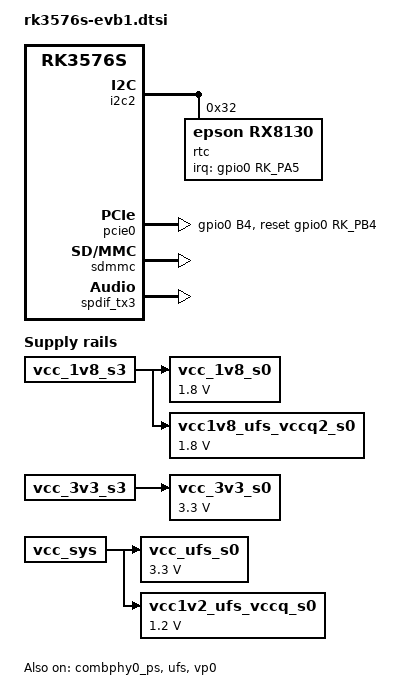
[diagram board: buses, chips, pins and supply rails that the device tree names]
// SPDX-License-Identifier: (GPL-2.0+ OR MIT)
/*
 * Copyright (c) 2024 Rockchip Electronics Co., Ltd.
 *
 */

#include <dt-bindings/usb/pd.h>
#include "rk3576s-evb.dtsi"
#include "rk3576-rk806.dtsi"
#include "usb/rk3576-usb.dtsi"
#include "usb/rk3576-usb_dp.dtsi"
#include "display/rk3576s-display.dtsi"
#include "M.2_external/rk3576_M.2_wifibt.dtsi"
#include "camera/rk3576-cam.dtsi"
#include "rk3576-audio.dtsi"

/ {
	vcc_1v8_s0: vcc-1v8-s0 {
		compatible = "regulator-fixed";
		regulator-name = "vcc_1v8_s0";
		regulator-boot-on;
		regulator-always-on;
		regulator-min-microvolt = <1800000>;
		regulator-max-microvolt = <1800000>;
		vin-supply = <&vcc_1v8_s3>;
	};

	vcc_3v3_s0: vcc-3v3-s0 {
		compatible = "regulator-fixed";
		regulator-name = "vcc_3v3_s0";
		regulator-boot-on;
		regulator-always-on;
		regulator-min-microvolt = <3300000>;
		regulator-max-microvolt = <3300000>;
		vin-supply = <&vcc_3v3_s3>;
	};

	vcc_ufs_s0: vcc-ufs-s0 {
		compatible = "regulator-fixed";
		regulator-name = "vcc_ufs_s0";
		regulator-boot-on;
		regulator-always-on;
		regulator-min-microvolt = <3300000>;
		regulator-max-microvolt = <3300000>;
		vin-supply = <&vcc_sys>;
	};

	vcc1v8_ufs_vccq2_s0: vcc1v8-ufs-vccq2-s0 {
		compatible = "regulator-fixed";
		regulator-name = "vcc1v8_ufs_vccq2_s0";
		regulator-boot-on;
		regulator-always-on;
		regulator-min-microvolt = <1800000>;
		regulator-max-microvolt = <1800000>;
		vin-supply = <&vcc_1v8_s3>;
	};

	vcc1v2_ufs_vccq_s0: vcc1v2-ufs-vccq-s0 {
		compatible = "regulator-fixed";
		regulator-name = "vcc1v2_ufs_vccq_s0";
		regulator-boot-on;
		regulator-always-on;
		regulator-min-microvolt = <1200000>;
		regulator-max-microvolt = <1200000>;
		vin-supply = <&vcc_sys>;
	};
};

&i2c2 {
	status = "okay";
		rtc@32 {
			reg = <0x32>;
			compatible = "epson,rx8130";
			interrupt-parent = <&gpio0>;
			interrupts = <RK_PA5 IRQ_TYPE_LEVEL_LOW>;
			pinctrl-names = "default";
			pinctrl-0 = <&rx8130_gpio>;
 	};
};

&combphy0_ps {
	status = "okay";
};

&pcie0 {
	reset-gpios = <&gpio0 RK_PB4 GPIO_ACTIVE_HIGH>;
	rockchip,skip-scan-in-resume;
	pinctrl-names = "default";
	pinctrl-0 = <&pcie_wifi_rts>;
	status = "okay";
};

&pdm1 {
        status = "disabled";
        pinctrl-names = "default";
        pinctrl-0 = <&pdm1m1_clk0
                     &pdm1m1_clk1
                     &pdm1m1_sdi0
                     &pdm1m1_sdi1
                     &pdm1m1_sdi2
                     &pdm1m1_sdi3>;
};

&pinctrl {
		rx8130_gpio {
			rx8130_gpio:rx8130_gpio{
 				rockchip,pins = <0 RK_PA5 RK_FUNC_GPIO &pcfg_pull_up>;
 		};
 	};
	pcie_wifi_rts{
		pcie_wifi_rts:pcie-wifi-rts{
			rockchip,pins = <0 RK_PB4 RK_FUNC_GPIO &pcfg_pull_down>;
		};
	};
};

&sdmmc {
	status = "okay";
};

&spdif_tx3 {
	status = "okay";
};

&ufs {
	vcc-supply = <&vcc_ufs_s0>;
	vccq-supply = <&vcc1v2_ufs_vccq_s0>;
	vccq2-supply = <&vcc1v8_ufs_vccq2_s0>;
	status = "okay";
};

&vp0 {
	status = "okay";
};
